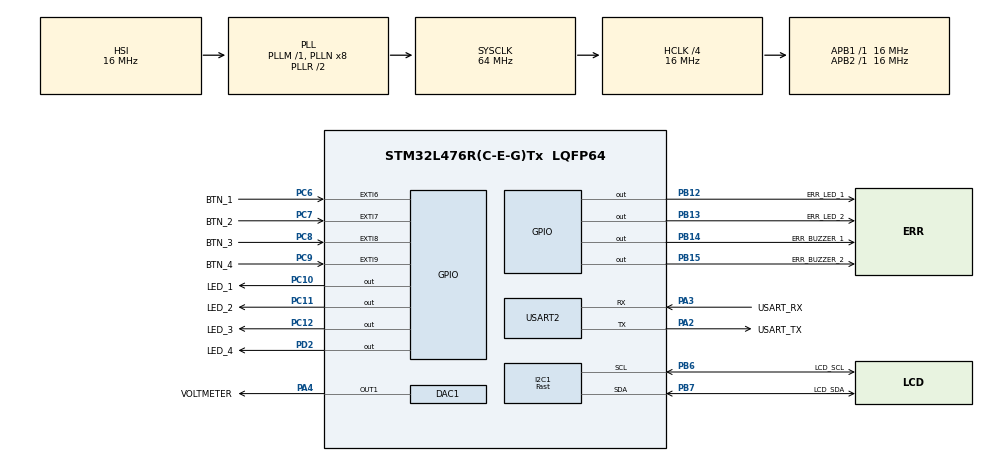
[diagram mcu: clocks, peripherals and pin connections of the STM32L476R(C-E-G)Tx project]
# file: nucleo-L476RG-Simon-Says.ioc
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FREERTOS.Events01=EXTICallback,Dynamic,NULL
FREERTOS.Tasks01=DisplayTask,24,128,StartDefaultTask,Default,NULL,Dynamic,NULL,NULL;MainTask,32,128,StartTask02,Default,NULL,Dynamic,NULL,NULL
I2C1.I2C_Speed_Mode=I2C_Fast
I2C1.Timing=0x00300617
Mcu.Family=STM32L4
Mcu.Name=STM32L476R(C-E-G)Tx
Mcu.Package=LQFP64
NVIC.EXTI9_5_IRQn=true\:5\:0\:false\:false\:true\:true\:true\:true\:true
NVIC.PriorityGroup=NVIC_PRIORITYGROUP_4
NVIC.TIM1_UP_TIM16_IRQn=true\:15\:0\:false\:false\:true\:false\:false\:true\:true
NVIC.TimeBase=TIM1_UP_TIM16_IRQn
NVIC.TimeBaseIP=TIM1
PA13\ (JTMS-SWDIO).GPIO_Label=TMS
PA13\ (JTMS-SWDIO).Signal=SYS_JTMS-SWDIO
PA14\ (JTCK-SWCLK).GPIO_Label=TCK
PA14\ (JTCK-SWCLK).Signal=SYS_JTCK-SWCLK
PA2.GPIO_Label=USART_TX
PA2.GPIO_Mode=GPIO_MODE_AF_PP
PA2.GPIO_PuPd=GPIO_NOPULL
PA2.GPIO_Speed=GPIO_SPEED_FREQ_VERY_HIGH
PA2.Mode=Asynchronous
PA2.Signal=USART2_TX
PA3.GPIO_Label=USART_RX
PA3.GPIO_Mode=GPIO_MODE_AF_PP
PA3.GPIO_PuPd=GPIO_NOPULL
PA3.GPIO_Speed=GPIO_SPEED_FREQ_VERY_HIGH
PA3.Mode=Asynchronous
PA3.Signal=USART2_RX
PA4.GPIO_Label=VOLTMETER
PA4.Signal=COMP_DAC11_group
PB12.GPIO_Label=ERR_LED_1
PB12.Signal=GPIO_Output
PB13.GPIO_Label=ERR_LED_2
PB13.Signal=GPIO_Output
PB14.GPIO_Label=ERR_BUZZER_1
PB14.Signal=GPIO_Output
PB15.GPIO_Label=ERR_BUZZER_2
PB15.Signal=GPIO_Output
PB3\ (JTDO-TRACESWO).GPIO_Label=SWO
PB3\ (JTDO-TRACESWO).Signal=SYS_JTDO-SWO
PB6.GPIO_Label=LCD_SCL
PB6.Mode=I2C
PB6.Signal=I2C1_SCL
PB7.GPIO_Label=LCD_SDA
PB7.Mode=I2C
PB7.Signal=I2C1_SDA
PC10.GPIO_Label=LED_1
PC10.Signal=GPIO_Output
PC11.GPIO_Label=LED_2
PC11.Signal=GPIO_Output
PC12.GPIO_Label=LED_3
PC12.Signal=GPIO_Output
PC14-OSC32_IN\ (PC14).Signal=RCC_OSC32_IN
PC15-OSC32_OUT\ (PC15).Signal=RCC_OSC32_OUT
PC6.GPIO_Label=BTN_1
PC6.GPIO_PuPd=GPIO_PULLUP
PC6.Signal=GPXTI6
PC7.GPIO_Label=BTN_2
PC7.GPIO_PuPd=GPIO_PULLUP
PC7.Signal=GPXTI7
PC8.GPIO_Label=BTN_3
PC8.GPIO_PuPd=GPIO_PULLUP
PC8.Signal=GPXTI8
PC9.GPIO_Label=BTN_4
PC9.GPIO_ModeDefaultEXTI=GPIO_MODE_IT_RISING
PC9.GPIO_PuPd=GPIO_PULLUP
PC9.Signal=GPXTI9
PD2.GPIO_Label=LED_4
PD2.Signal=GPIO_Output
PH0-OSC_IN\ (PH0).Signal=RCC_OSC_IN
PH1-OSC_OUT\ (PH1).Signal=RCC_OSC_OUT
ProjectManager.HeapSize=0x200
ProjectManager.StackSize=0x400
ProjectManager.TargetToolchain=CMake
RCC.ADCFreq_Value=64000000
RCC.AHBCLKDivider=RCC_SYSCLK_DIV4
RCC.AHBFreq_Value=16000000
RCC.APB1Freq_Value=16000000
RCC.APB1TimFreq_Value=16000000
RCC.APB2Freq_Value=16000000
RCC.APB2TimFreq_Value=16000000
RCC.CK48CLockSelection=RCC_USBCLKSOURCE_MSI
RCC.CortexFreq_Value=16000000
RCC.HCLKFreq_Value=16000000
RCC.HSE_VALUE=8000000
RCC.HSI_VALUE=16000000
RCC.LSE_VALUE=32768
RCC.MSI_VALUE=4000000
RCC.PLLSAI1Q=RCC_PLLQ_DIV4
RCC.PLLSourceVirtual=RCC_PLLSOURCE_HSI
RCC.PREFETCH_ENABLE=1
RCC.SYSCLKFreq_VALUE=64000000
RCC.SYSCLKSource=RCC_SYSCLKSOURCE_PLLCLK
RCC.USBFreq_Value=4000000
RCC.VCOOutputFreq_Value=128000000
SH.COMP_DAC11_group.0=DAC1_OUT1,DAC_OUT1
USART2.VirtualMode-Asynchronous=VM_ASYNC
VP_FREERTOS_VS_CMSIS_V2.Mode=CMSIS_V2
VP_RNG_VS_RNG.Mode=RNG_Activate
VP_SYS_VS_tim1.Mode=TIM1
board=NUCLEO-L476RG

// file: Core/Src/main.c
/* USER CODE BEGIN Header */
/**
  ******************************************************************************
  * @file           : main.c
  * @brief          : Main program body
  ******************************************************************************
  * @attention
  *
  * Copyright (c) 2026 STMicroelectronics.
  * All rights reserved.
  *
  * This software is licensed under terms that can be found in the LICENSE file
  * in the root directory of this software component.
  * If no LICENSE file comes with this software, it is provided AS-IS.
  *
  ******************************************************************************
  */
/* USER CODE END Header */
#include "main.h"
#include "cmsis_os.h"
#include "dac.h"
#include "i2c.h"
#include "rng.h"
#include "usart.h"
#include "gpio.h"

/* USER CODE BEGIN PV */

#define DEBOUNCE_DELAY_MS   150

volatile uint8_t button_pressed_flag = 0;
volatile uint8_t last_pressed_button = 0;
/* USER CODE END PV */

void SystemClock_Config(void);
void MX_FREERTOS_Init(void);

int main(void)
{

  /* MCU Configuration--------------------------------------------------------*/

  /* Reset of all peripherals, Initializes the Flash interface and the Systick. */
  HAL_Init();

  /* Configure the system clock */
  SystemClock_Config();

  /* Initialize all configured peripherals */
  MX_GPIO_Init();
  MX_USART2_UART_Init();
  MX_RNG_Init();
  MX_I2C1_Init();
  MX_DAC1_Init();
  /* USER CODE BEGIN 2 */
  HAL_DAC_Start(&hdac1, DAC_CHANNEL_1);
  HAL_DAC_SetValue(&hdac1, DAC_CHANNEL_1, DAC_ALIGN_12B_R, 4095);
  /* USER CODE END 2 */

  /* Init scheduler */
  osKernelInitialize();  /* Call init function for freertos objects (in cmsis_os2.c) */
  MX_FREERTOS_Init();

  /* Start scheduler */
  osKernelStart();

  /* We should never get here as control is now taken by the scheduler */

  /* Infinite loop */
 while (1)
  {
  }

}

void SystemClock_Config(void)
{
  RCC_OscInitTypeDef RCC_OscInitStruct = {0};
  RCC_ClkInitTypeDef RCC_ClkInitStruct = {0};

  /** Configure the main internal regulator output voltage
  */
  if (HAL_PWREx_ControlVoltageScaling(PWR_REGULATOR_VOLTAGE_SCALE1) != HAL_OK)
  {
    Error_Handler();
  }

  /** Initializes the RCC Oscillators according to the specified parameters
  * in the RCC_OscInitTypeDef structure.
  */
  RCC_OscInitStruct.OscillatorType = RCC_OSCILLATORTYPE_HSI|RCC_OSCILLATORTYPE_MSI;
  RCC_OscInitStruct.HSIState = RCC_HSI_ON;
  RCC_OscInitStruct.HSICalibrationValue = RCC_HSICALIBRATION_DEFAULT;
  RCC_OscInitStruct.MSIState = RCC_MSI_ON;
  RCC_OscInitStruct.MSICalibrationValue = 0;
  RCC_OscInitStruct.MSIClockRange = RCC_MSIRANGE_6;
  RCC_OscInitStruct.PLL.PLLState = RCC_PLL_ON;
  RCC_OscInitStruct.PLL.PLLSource = RCC_PLLSOURCE_HSI;
  RCC_OscInitStruct.PLL.PLLM = 1;
  RCC_OscInitStruct.PLL.PLLN = 8;
  RCC_OscInitStruct.PLL.PLLP = RCC_PLLP_DIV7;
  RCC_OscInitStruct.PLL.PLLQ = RCC_PLLQ_DIV2;
  RCC_OscInitStruct.PLL.PLLR = RCC_PLLR_DIV2;
  if (HAL_RCC_OscConfig(&RCC_OscInitStruct) != HAL_OK)
  {
    Error_Handler();
  }

  /** Initializes the CPU, AHB and APB buses clocks
  */
  RCC_ClkInitStruct.ClockType = RCC_CLOCKTYPE_HCLK|RCC_CLOCKTYPE_SYSCLK
                              |RCC_CLOCKTYPE_PCLK1|RCC_CLOCKTYPE_PCLK2;
  RCC_ClkInitStruct.SYSCLKSource = RCC_SYSCLKSOURCE_PLLCLK;
  RCC_ClkInitStruct.AHBCLKDivider = RCC_SYSCLK_DIV4;
  RCC_ClkInitStruct.APB1CLKDivider = RCC_HCLK_DIV1;
  RCC_ClkInitStruct.APB2CLKDivider = RCC_HCLK_DIV1;

  if (HAL_RCC_ClockConfig(&RCC_ClkInitStruct, FLASH_LATENCY_0) != HAL_OK)
  {
    Error_Handler();
  }
}

/* USER CODE BEGIN 4 */
void HAL_GPIO_EXTI_Callback(uint16_t GPIO_Pin) {
    static uint32_t last_interrupt_time = 0;
    uint32_t current_time = HAL_GetTick();

    // Debounce check
    if ((current_time - last_interrupt_time) < DEBOUNCE_DELAY_MS) {
        return;
    }
    last_interrupt_time = current_time;

    // Identify which pin was pressed and set the flag
    if (GPIO_Pin == BTN_1_Pin) {
        last_pressed_button = 0;
        button_pressed_flag = 1;
    } else if (GPIO_Pin == BTN_2_Pin) {
        last_pressed_button = 1;
        button_pressed_flag = 1;
    } else if (GPIO_Pin == BTN_3_Pin) {
        last_pressed_button = 2;
        button_pressed_flag = 1;
    }   else if (GPIO_Pin == BTN_4_Pin) {
        last_pressed_button = 3;
        button_pressed_flag = 1;
    }

}
/* USER CODE END 4 */

void HAL_TIM_PeriodElapsedCallback(TIM_HandleTypeDef *htim)
{
  if (htim->Instance == TIM1)
  {
    HAL_IncTick();
  }
}

void Error_Handler(void)
{
  __disable_irq();
  while (1)
  {
  }
}

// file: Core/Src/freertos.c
/* USER CODE BEGIN Header */
/**
  ******************************************************************************
  * File Name          : freertos.c
  * Description        : Code for freertos applications
  ******************************************************************************
  * @attention
  *
  * Copyright (c) 2026 STMicroelectronics.
  * All rights reserved.
  *
  * This software is licensed under terms that can be found in the LICENSE file
  * in the root directory of this software component.
  * If no LICENSE file comes with this software, it is provided AS-IS.
  *
  ******************************************************************************
  */
/* USER CODE END Header */

#include "FreeRTOS.h"
#include "task.h"
#include "main.h"
#include "cmsis_os.h"

/* USER CODE BEGIN Includes */
#include "stdio.h"
#include "string.h"
#include "stdlib.h"
#include "i2c_lcd.h"
#include "rng.h"
#include "dac.h"
/* USER CODE END Includes */

/* USER CODE BEGIN PTD */
typedef enum {
    STATE_MENU,
    STATE_SHOW_SEQUENCE,
    STATE_PLAYER_INPUT,
    STATE_GAME_OVER
} GameState_t;
/* USER CODE END PTD */

/* USER CODE BEGIN PD */
#define SEQUENCE_MAX_LENGTH 50
#define INPUT_TIMEOUT_MS  5000 // Total time allowed per input (5 seconds)
/* USER CODE END PD */

/* USER CODE BEGIN Variables */
volatile GameState_t game_state = STATE_MENU;
uint8_t sequence[SEQUENCE_MAX_LENGTH];
uint8_t current_level = 0;
uint8_t sequence_length = 0;
uint8_t player_check_index = 0;
uint32_t random32bit;
extern volatile uint8_t button_pressed_flag;
extern volatile uint8_t last_pressed_button;
extern RNG_HandleTypeDef hrng;
extern DAC_HandleTypeDef hdac1;
/* USER CODE END Variables */
/* Definitions for DisplayTask */
osThreadId_t DisplayTaskHandle;
const osThreadAttr_t DisplayTask_attributes = {
  .name = "DisplayTask",
  .stack_size = 128 * 4,
  .priority = (osPriority_t) osPriorityNormal,
};
/* Definitions for MainTask */
osThreadId_t MainTaskHandle;
const osThreadAttr_t MainTask_attributes = {
  .name = "MainTask",
  .stack_size = 128 * 4,
  .priority = (osPriority_t) osPriorityAboveNormal,
};
/* Definitions for EXTICallback */
osEventFlagsId_t EXTICallbackHandle;
const osEventFlagsAttr_t EXTICallback_attributes = {
  .name = "EXTICallback"
};

/* USER CODE BEGIN FunctionPrototypes */
void all_leds_on(void);
void all_leds_off(void);
void turn_led_on(uint8_t led_num);
void error_indicators_on(void);
void error_indicators_off(void);
void play_error_blink(void);
void generate_next_level(void);
void play_sequence(void);
uint8_t RTOS_Scroll_Interruptible(uint8_t row, const char* str, uint32_t delay_ms);
void set_dac_voltmeter(uint32_t raw_value);
/* USER CODE END FunctionPrototypes */

void StartDefaultTask(void *argument);
void StartTask02(void *argument);

void MX_FREERTOS_Init(void); /* (MISRA C 2004 rule 8.1) */

void MX_FREERTOS_Init(void) {

  /* Create the thread(s) */
  /* creation of DisplayTask */
  DisplayTaskHandle = osThreadNew(StartDefaultTask, NULL, &DisplayTask_attributes);

  /* creation of MainTask */
  MainTaskHandle = osThreadNew(StartTask02, NULL, &MainTask_attributes);

  /* Create the event(s) */
  /* creation of EXTICallback */
  EXTICallbackHandle = osEventFlagsNew(&EXTICallback_attributes);

}

void StartDefaultTask(void *argument)
{
  /* USER CODE BEGIN StartDefaultTask */
  /* Infinite loop */
  for(;;)
  {
    osDelay(100);
  }
  /* USER CODE END StartDefaultTask */
}

void StartTask02(void *argument)
{
  /* USER CODE BEGIN StartTask02 */
  lcd_init();
  lcd_clear();
  RTOS_Scroll_Interruptible(0, "WELCOME TO SIMON SAYS", 200);
  RTOS_Scroll_Interruptible(1, "Press ANY button to start", 200);

  set_dac_voltmeter(4095);
  game_state = STATE_MENU;

  /* Infinite loop */
  for(;;)
  {

      if (game_state == STATE_MENU) {
          if (button_pressed_flag) {
              uint8_t pressed = last_pressed_button;
              button_pressed_flag = 0;
              osEventFlagsClear(EXTICallbackHandle, 0x01);

              turn_led_on(pressed);
              osDelay(150);
              all_leds_off();

              srand(HAL_GetTick());
              current_level = 0;
              set_dac_voltmeter(4095);
              game_state = STATE_SHOW_SEQUENCE;
          }
      }
      else if (game_state == STATE_SHOW_SEQUENCE) {
          generate_next_level();
          play_sequence();
      }
      else if (game_state == STATE_PLAYER_INPUT) {
          uint32_t start_tick = osKernelGetTickCount();
          uint32_t timeout_ticks = (5000 * osKernelGetTickFreq()) / 1000;
          uint8_t input_received = 0;

          while ((osKernelGetTickCount() - start_tick) < timeout_ticks) {
              uint32_t elapsed = osKernelGetTickCount() - start_tick;
              uint32_t remaining = timeout_ticks - elapsed;

              uint32_t dac_val = (remaining * 4095) / timeout_ticks;
              set_dac_voltmeter(dac_val);

              if (button_pressed_flag) {
                  uint8_t pressed = last_pressed_button;
                  button_pressed_flag = 0;
                  osEventFlagsClear(EXTICallbackHandle, 0x01);

                  turn_led_on(pressed);
                  osDelay(200);
                  all_leds_off();

                  if (pressed == sequence[player_check_index]) {
                      player_check_index++;

                      if (player_check_index >= sequence_length) {
                          set_dac_voltmeter(4095);
                          lcd_clear();
                          lcd_put_cursor(0, 0);
                          lcd_send_string(" Correct!");
                          osDelay(500);
                          game_state = STATE_SHOW_SEQUENCE;
                      }
                  } else {
                      set_dac_voltmeter(0);
                      play_error_blink();

                      char final_score_msg[32];
                      snprintf(final_score_msg, sizeof(final_score_msg), "WRONG! Level %u", current_level);

                      lcd_clear();
                      lcd_put_cursor(0, 0);
                      lcd_send_string(final_score_msg);
                      lcd_put_cursor(1, 0);
                      lcd_send_string("Press button...");

                      game_state = STATE_GAME_OVER;
                  }

                  input_received = 1;
                  break;
              }

              osDelay(20);
          }

          if (!input_received && game_state == STATE_PLAYER_INPUT) {
              set_dac_voltmeter(0);
              play_error_blink();

              lcd_clear();
              lcd_put_cursor(0, 0);
              lcd_send_string("TIME OUT!");
              lcd_put_cursor(1, 0);
              lcd_send_string("Press button...");

              game_state = STATE_GAME_OVER;
          }
      }
      else if (game_state == STATE_GAME_OVER) {
          if (button_pressed_flag) {
              uint8_t pressed = last_pressed_button;
              button_pressed_flag = 0;
              osEventFlagsClear(EXTICallbackHandle, 0x01);

              turn_led_on(pressed);
              osDelay(150);
              all_leds_off();

              lcd_clear();
              lcd_put_cursor(0, 0);
              lcd_send_string("=== MAIN MENU ===");
              lcd_put_cursor(1, 0);
              lcd_send_string("Press ANY button");

              set_dac_voltmeter(4095);
              game_state = STATE_MENU;
          }
      }

      osDelay(10);
  }
  /* USER CODE END StartTask02 */
}

/* USER CODE BEGIN Application */
void all_leds_on(void){
    HAL_GPIO_WritePin(LED_1_GPIO_Port, LED_1_Pin, GPIO_PIN_SET);
    HAL_GPIO_WritePin(LED_2_GPIO_Port, LED_2_Pin, GPIO_PIN_SET);
    HAL_GPIO_WritePin(LED_3_GPIO_Port, LED_3_Pin, GPIO_PIN_SET);
    HAL_GPIO_WritePin(LED_4_GPIO_Port, LED_4_Pin, GPIO_PIN_SET);
}

void all_leds_off(void){
    HAL_GPIO_WritePin(LED_1_GPIO_Port, LED_1_Pin, GPIO_PIN_RESET);
    HAL_GPIO_WritePin(LED_2_GPIO_Port, LED_2_Pin, GPIO_PIN_RESET);
    HAL_GPIO_WritePin(LED_3_GPIO_Port, LED_3_Pin, GPIO_PIN_RESET);
    HAL_GPIO_WritePin(LED_4_GPIO_Port, LED_4_Pin, GPIO_PIN_RESET);
}

void turn_led_on(uint8_t led_num) {
    if (led_num == 0)      HAL_GPIO_WritePin(LED_1_GPIO_Port, LED_1_Pin, GPIO_PIN_SET);
    else if (led_num == 1) HAL_GPIO_WritePin(LED_2_GPIO_Port, LED_2_Pin, GPIO_PIN_SET);
    else if (led_num == 2) HAL_GPIO_WritePin(LED_3_GPIO_Port, LED_3_Pin, GPIO_PIN_SET);
    else if (led_num == 3) HAL_GPIO_WritePin(LED_4_GPIO_Port, LED_4_Pin, GPIO_PIN_SET);
}

void error_indicators_on(void) {
    HAL_GPIO_WritePin(GPIOB, ERR_LED_1_Pin | ERR_LED_2_Pin | ERR_BUZZER_1_Pin | ERR_BUZZER_2_Pin, GPIO_PIN_SET);
}

void error_indicators_off(void) {
    HAL_GPIO_WritePin(GPIOB, ERR_LED_1_Pin | ERR_LED_2_Pin | ERR_BUZZER_1_Pin | ERR_BUZZER_2_Pin, GPIO_PIN_RESET);
}

void play_error_blink(void) {
    for (int i = 0; i < 4; i++) {
        all_leds_on();
        error_indicators_on();
        osDelay(150);
        all_leds_off();
        error_indicators_off();
        osDelay(150);
    }
}

void generate_next_level(void) {
    current_level++;
    sequence_length = current_level + 1;

    if (HAL_RNG_GenerateRandomNumber(&hrng, &random32bit) == HAL_OK) {
        sequence[sequence_length - 1] = (uint8_t)(random32bit % 4);
    } else {
        sequence[sequence_length - 1] = rand() % 4;
    }
}

void play_sequence(void) {
    char buffer[32];
    snprintf(buffer, sizeof(buffer), "--- LEVEL %u ---", current_level);

    lcd_clear();
    lcd_put_cursor(0, 0);
    lcd_send_string(buffer);
    lcd_put_cursor(1, 0);
    lcd_send_string("Watch LEDs...");
    osDelay(1000);

    uint32_t flash_delay = 800 - (current_level * 50);
    if (flash_delay < 200) flash_delay = 200;

    for (uint8_t i = 0; i < sequence_length; i++) {
        turn_led_on(sequence[i]);
        osDelay(flash_delay);
        all_leds_off();
        osDelay(flash_delay / 2);
    }

    lcd_clear();
    lcd_put_cursor(0, 0);
    lcd_send_string("Your turn!");

    player_check_index = 0;
    game_state = STATE_PLAYER_INPUT;
}
void set_dac_voltmeter(uint32_t raw_value) {
    if (raw_value == 0) {
        // Disables active drive on PA4 so it drops cleanly to 0.00V
        HAL_DAC_Stop(&hdac1, DAC_CHANNEL_1);
    } else {
        if (raw_value > 4095) raw_value = 4095;
        HAL_DAC_Start(&hdac1, DAC_CHANNEL_1);
        HAL_DAC_SetValue(&hdac1, DAC_CHANNEL_1, DAC_ALIGN_12B_R, raw_value);
    }
}
// RTOS-Friendly Interruptible Line Scrolling
uint8_t RTOS_Scroll_Interruptible(uint8_t row, const char* str, uint32_t delay_ms) {
    uint16_t len = strlen(str);

    if (len <= 16) {
        lcd_put_cursor(row, 0);
        lcd_send_string((char*)str);
        for (uint16_t i = len; i < 16; i++) lcd_send_data(' ');
        return 0;
    }

    char window[17];
    window[16] = '\0';

    for (uint16_t i = 0; i <= len; i++) {
        for (uint8_t col = 0; col < 16; col++) {
            window[col] = ((i + col) < len) ? str[i + col] : ' ';
        }

        lcd_put_cursor(row, 0);
        lcd_send_string(window);

        // Non-blocking RTOS delay check
        uint32_t flags = osEventFlagsWait(EXTICallbackHandle, 0x01, osFlagsNoClear, delay_ms);
        if ((flags & 0x01) != 0) {
            return 1; // Interrupted by EXTI button press
        }
    }
    return 0;
}
/* USER CODE END Application */
